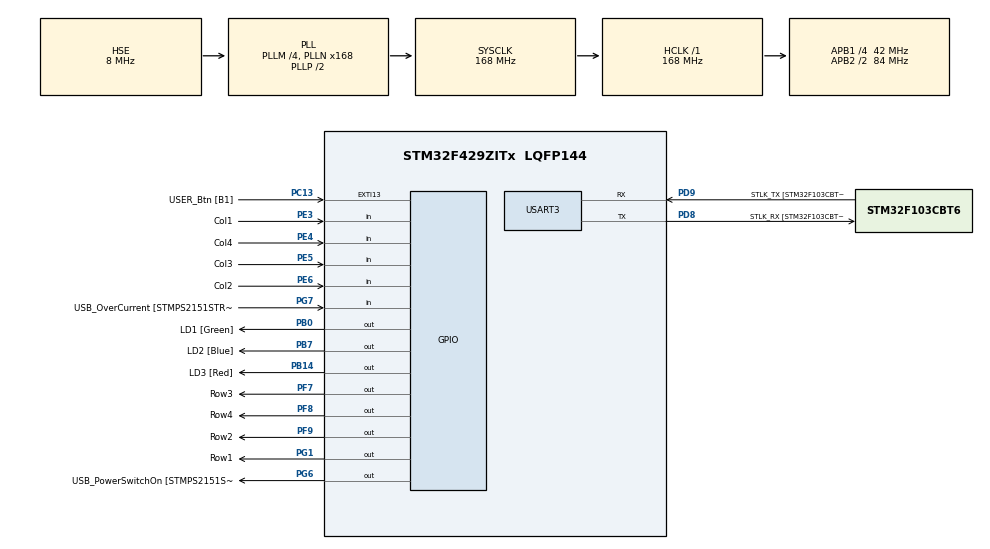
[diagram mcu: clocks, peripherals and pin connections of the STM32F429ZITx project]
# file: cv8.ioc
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Mcu.Family=STM32F4
Mcu.Name=STM32F429ZITx
Mcu.Package=LQFP144
NVIC.PriorityGroup=NVIC_PRIORITYGROUP_4
NVIC.TIM3_IRQn=true\:0\:0\:false\:false\:true\:true\:true
PA1.GPIO_Label=RMII_REF_CLK [LAN8742A-CZ-TR_REFCLK0]
PA1.Signal=ETH_REF_CLK
PA10.GPIO_Label=USB_ID
PA10.Signal=USB_OTG_FS_ID
PA11.GPIO_Label=USB_DM
PA11.Signal=USB_OTG_FS_DM
PA12.GPIO_Label=USB_DP
PA12.Signal=USB_OTG_FS_DP
PA13.GPIO_Label=TMS
PA13.Mode=Serial_Wire
PA13.Signal=SYS_JTMS-SWDIO
PA14.GPIO_Label=TCK
PA14.Mode=Serial_Wire
PA14.Signal=SYS_JTCK-SWCLK
PA2.GPIO_Label=RMII_MDIO [LAN8742A-CZ-TR_MDIO]
PA2.Signal=ETH_MDIO
PA7.GPIO_Label=RMII_CRS_DV [LAN8742A-CZ-TR_CRS_DV]
PA7.Signal=ETH_CRS_DV
PA8.GPIO_Label=USB_SOF [TP1]
PA8.Signal=USB_OTG_FS_SOF
PA9.GPIO_Label=USB_VBUS
PA9.Signal=USB_OTG_FS_VBUS
PB0.GPIO_Label=LD1 [Green]
PB0.Signal=GPIO_Output
PB13.GPIO_Label=RMII_TXD1 [LAN8742A-CZ-TR_TXD1]
PB13.Signal=ETH_TXD1
PB14.GPIO_Label=LD3 [Red]
PB14.Signal=GPIO_Output
PB7.GPIO_Label=LD2 [Blue]
PB7.Signal=GPIO_Output
PC1.GPIO_Label=RMII_MDC [LAN8742A-CZ-TR_MDC]
PC1.Signal=ETH_MDC
PC13.GPIO_Label=USER_Btn [B1]
PC13.Signal=GPXTI13
PC14/OSC32_IN.Mode=LSE-External-Oscillator
PC14/OSC32_IN.Signal=RCC_OSC32_IN
PC15/OSC32_OUT.Mode=LSE-External-Oscillator
PC15/OSC32_OUT.Signal=RCC_OSC32_OUT
PC4.GPIO_Label=RMII_RXD0 [LAN8742A-CZ-TR_RXD0]
PC4.Signal=ETH_RXD0
PC5.GPIO_Label=RMII_RXD1 [LAN8742A-CZ-TR_RXD1]
PC5.Signal=ETH_RXD1
PD8.GPIO_Label=STLK_RX [STM32F103CBT6_PA3]
PD8.Mode=Asynchronous
PD8.Signal=USART3_TX
PD9.GPIO_Label=STLK_TX [STM32F103CBT6_PA2]
PD9.Mode=Asynchronous
PD9.Signal=USART3_RX
PE3.GPIO_Label=Col1
PE3.GPIO_PuPd=GPIO_PULLUP
PE3.Signal=GPIO_Input
PE4.GPIO_Label=Col4
PE4.GPIO_PuPd=GPIO_PULLUP
PE4.Signal=GPIO_Input
PE5.GPIO_Label=Col3
PE5.GPIO_PuPd=GPIO_PULLUP
PE5.Signal=GPIO_Input
PE6.GPIO_Label=Col2
PE6.GPIO_PuPd=GPIO_PULLUP
PE6.Signal=GPIO_Input
PF7.GPIO_Label=Row3
PF7.GPIO_ModeDefaultOutputPP=GPIO_MODE_OUTPUT_OD
PF7.Signal=GPIO_Output
PF8.GPIO_Label=Row4
PF8.GPIO_ModeDefaultOutputPP=GPIO_MODE_OUTPUT_OD
PF8.Signal=GPIO_Output
PF9.GPIO_Label=Row2
PF9.GPIO_ModeDefaultOutputPP=GPIO_MODE_OUTPUT_OD
PF9.Signal=GPIO_Output
PG1.GPIO_Label=Row1
PG1.GPIO_ModeDefaultOutputPP=GPIO_MODE_OUTPUT_OD
PG1.Signal=GPIO_Output
PG11.GPIO_Label=RMII_TX_EN [LAN8742A-CZ-TR_TXEN]
PG11.Signal=ETH_TX_EN
PG13.GPIO_Label=RMII_TXD0 [LAN8742A-CZ-TR_TXD0]
PG13.Signal=ETH_TXD0
PG6.GPIO_Label=USB_PowerSwitchOn [STMPS2151STR_EN]
PG6.Signal=GPIO_Output
PG7.GPIO_Label=USB_OverCurrent [STMPS2151STR_FAULT]
PG7.Signal=GPIO_Input
PH0/OSC_IN.GPIO_Label=MCO [STM32F103CBT6_PA8]
PH0/OSC_IN.Mode=HSE-External-Clock-Source
PH0/OSC_IN.Signal=RCC_OSC_IN
PH1/OSC_OUT.Mode=HSE-External-Clock-Source
PH1/OSC_OUT.Signal=RCC_OSC_OUT
ProjectManager.HeapSize=0x200
ProjectManager.StackSize=0x400
ProjectManager.TargetToolchain=STM32CubeIDE
RCC.48MHZClocksFreq_Value=48000000
RCC.AHBFreq_Value=168000000
RCC.APB1CLKDivider=RCC_HCLK_DIV4
RCC.APB1Freq_Value=42000000
RCC.APB1TimFreq_Value=84000000
RCC.APB2CLKDivider=RCC_HCLK_DIV2
RCC.APB2Freq_Value=84000000
RCC.APB2TimCLKDivider=2
RCC.APB2TimFreq_Value=168000000
RCC.CortexFreq_Value=168000000
RCC.HCLKFreq_Value=168000000
RCC.HSE_VALUE=8000000
RCC.HSI_VALUE=16000000
RCC.PLLM=4
RCC.PLLMUL=RCC_PLL_MUL9
RCC.PLLN=168
RCC.PLLQ=7
RCC.PLLSourceVirtual=RCC_PLLSOURCE_HSE
RCC.PRESCALERUSB=RCC_USBCLKSOURCE_PLL_DIV1_5
RCC.SYSCLKFreq_VALUE=168000000
RCC.SYSCLKSource=RCC_SYSCLKSOURCE_PLLCLK
RCC.SYSCLKSourceVirtual=RCC_SYSCLKSOURCE_PLLCLK
RCC.USBFreq_Value=48000000
RCC.VCOOutputFreq_Value=336000000
TIM3.AutoReloadPreload=TIM_AUTORELOAD_PRELOAD_ENABLE
TIM3.Period=99
TIM3.Prescaler=8399
USART3.VirtualMode=VM_ASYNC
VP_TIM3_VS_ClockSourceINT.Mode=Internal
board=NUCLEO-F429ZI

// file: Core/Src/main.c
/* USER CODE BEGIN Header */
/**
  ******************************************************************************
  * @file           : main.c
  * @brief          : Main program body
  ******************************************************************************
  * @attention
  *
  * <h2><center>&copy; Copyright (c) 2021 STMicroelectronics.
  * All rights reserved.</center></h2>
  *
  * This software component is licensed by ST under BSD 3-Clause license,
  * the "License"; You may not use this file except in compliance with the
  * License. You may obtain a copy of the License at:
  *                        opensource.org/licenses/BSD-3-Clause
  *
  ******************************************************************************
  */
/* USER CODE END Header */
#include "main.h"

/* USER CODE BEGIN Includes */
#include "stdio.h"

/* USER CODE END Includes */

/* USER CODE BEGIN PD */

int __io_putchar(int ch)
{
	ITM_SendChar(ch);
	return 0;
}

/* USER CODE END PD */

TIM_HandleTypeDef htim3;

UART_HandleTypeDef huart3;

/* USER CODE BEGIN PV */

static volatile int8_t key=-1;
static volatile int8_t score=0;
static int16_t pass [] ={7,9,3,2,12};

/* USER CODE END PV */

void SystemClock_Config(void);
static void MX_GPIO_Init(void);
static void MX_USART3_UART_Init(void);
static void MX_TIM3_Init(void);
/* USER CODE BEGIN PFP */

void test(int key){
	static uint32_t new_time;
	uint32_t time;
	static int8_t score=0;
	time=HAL_GetTick();

	if(time>new_time){
		new_time=time+3000;
		score=0;
	}

	if (key == pass[score]){
		score++;
		new_time=time+3000;
	}
	else{
		score=0;
	}
	printf("%d\n",score);

	if(score==5){
		HAL_GPIO_TogglePin(LD1_GPIO_Port, LD1_Pin);
		score=0;
	}
}

/* USER CODE END PFP */

int main(void)
{

  /* MCU Configuration--------------------------------------------------------*/

  /* Reset of all peripherals, Initializes the Flash interface and the Systick. */

	HAL_Init();

  /* Configure the system clock */
  SystemClock_Config();

  /* Initialize all configured peripherals */
  MX_GPIO_Init();
  MX_USART3_UART_Init();
  MX_TIM3_Init();
  /* USER CODE BEGIN 2 */
  HAL_TIM_Base_Start_IT(&htim3);

  /* USER CODE END 2 */

  /* Infinite loop */
  /* USER CODE BEGIN WHILE */
  while (1)
  {
	  if (key!=-1){
		  printf("%d\n",key);
		  test(key);
		  HAL_Delay(400);
		  key=-1;
	  }

	  /* USER CODE END WHILE */

  }
}

void SystemClock_Config(void)
{
  RCC_OscInitTypeDef RCC_OscInitStruct = {0};
  RCC_ClkInitTypeDef RCC_ClkInitStruct = {0};

  /** Configure the main internal regulator output voltage
  */
  __HAL_RCC_PWR_CLK_ENABLE();
  __HAL_PWR_VOLTAGESCALING_CONFIG(PWR_REGULATOR_VOLTAGE_SCALE1);
  /** Initializes the RCC Oscillators according to the specified parameters
  * in the RCC_OscInitTypeDef structure.
  */
  RCC_OscInitStruct.OscillatorType = RCC_OSCILLATORTYPE_HSE;
  RCC_OscInitStruct.HSEState = RCC_HSE_BYPASS;
  RCC_OscInitStruct.PLL.PLLState = RCC_PLL_ON;
  RCC_OscInitStruct.PLL.PLLSource = RCC_PLLSOURCE_HSE;
  RCC_OscInitStruct.PLL.PLLM = 4;
  RCC_OscInitStruct.PLL.PLLN = 168;
  RCC_OscInitStruct.PLL.PLLP = RCC_PLLP_DIV2;
  RCC_OscInitStruct.PLL.PLLQ = 7;
  if (HAL_RCC_OscConfig(&RCC_OscInitStruct) != HAL_OK)
  {
    Error_Handler();
  }
  /** Initializes the CPU, AHB and APB buses clocks
  */
  RCC_ClkInitStruct.ClockType = RCC_CLOCKTYPE_HCLK|RCC_CLOCKTYPE_SYSCLK
                              |RCC_CLOCKTYPE_PCLK1|RCC_CLOCKTYPE_PCLK2;
  RCC_ClkInitStruct.SYSCLKSource = RCC_SYSCLKSOURCE_PLLCLK;
  RCC_ClkInitStruct.AHBCLKDivider = RCC_SYSCLK_DIV1;
  RCC_ClkInitStruct.APB1CLKDivider = RCC_HCLK_DIV4;
  RCC_ClkInitStruct.APB2CLKDivider = RCC_HCLK_DIV2;

  if (HAL_RCC_ClockConfig(&RCC_ClkInitStruct, FLASH_LATENCY_5) != HAL_OK)
  {
    Error_Handler();
  }
}

static void MX_TIM3_Init(void)
{

  TIM_ClockConfigTypeDef sClockSourceConfig = {0};
  TIM_MasterConfigTypeDef sMasterConfig = {0};

  htim3.Instance = TIM3;
  htim3.Init.Prescaler = 8399;
  htim3.Init.CounterMode = TIM_COUNTERMODE_UP;
  htim3.Init.Period = 99;
  htim3.Init.ClockDivision = TIM_CLOCKDIVISION_DIV1;
  htim3.Init.AutoReloadPreload = TIM_AUTORELOAD_PRELOAD_ENABLE;
  if (HAL_TIM_Base_Init(&htim3) != HAL_OK)
  {
    Error_Handler();
  }
  sClockSourceConfig.ClockSource = TIM_CLOCKSOURCE_INTERNAL;
  if (HAL_TIM_ConfigClockSource(&htim3, &sClockSourceConfig) != HAL_OK)
  {
    Error_Handler();
  }
  sMasterConfig.MasterOutputTrigger = TIM_TRGO_RESET;
  sMasterConfig.MasterSlaveMode = TIM_MASTERSLAVEMODE_DISABLE;
  if (HAL_TIMEx_MasterConfigSynchronization(&htim3, &sMasterConfig) != HAL_OK)
  {
    Error_Handler();
  }

}

static void MX_USART3_UART_Init(void)
{

  huart3.Instance = USART3;
  huart3.Init.BaudRate = 115200;
  huart3.Init.WordLength = UART_WORDLENGTH_8B;
  huart3.Init.StopBits = UART_STOPBITS_1;
  huart3.Init.Parity = UART_PARITY_NONE;
  huart3.Init.Mode = UART_MODE_TX_RX;
  huart3.Init.HwFlowCtl = UART_HWCONTROL_NONE;
  huart3.Init.OverSampling = UART_OVERSAMPLING_16;
  if (HAL_UART_Init(&huart3) != HAL_OK)
  {
    Error_Handler();
  }

}

static void MX_GPIO_Init(void)
{
  GPIO_InitTypeDef GPIO_InitStruct = {0};

  /* GPIO Ports Clock Enable */
  __HAL_RCC_GPIOE_CLK_ENABLE();
  __HAL_RCC_GPIOC_CLK_ENABLE();
  __HAL_RCC_GPIOF_CLK_ENABLE();
  __HAL_RCC_GPIOH_CLK_ENABLE();
  __HAL_RCC_GPIOA_CLK_ENABLE();
  __HAL_RCC_GPIOB_CLK_ENABLE();
  __HAL_RCC_GPIOG_CLK_ENABLE();
  __HAL_RCC_GPIOD_CLK_ENABLE();

  /*Configure GPIO pin Output Level */
  HAL_GPIO_WritePin(GPIOF, Row3_Pin|Row4_Pin|Row2_Pin, GPIO_PIN_RESET);

  /*Configure GPIO pin Output Level */
  HAL_GPIO_WritePin(GPIOB, LD1_Pin|LD3_Pin|LD2_Pin, GPIO_PIN_RESET);

  /*Configure GPIO pin Output Level */
  HAL_GPIO_WritePin(GPIOG, Row1_Pin|USB_PowerSwitchOn_Pin, GPIO_PIN_RESET);

  /*Configure GPIO pins : Col1_Pin Col4_Pin Col3_Pin Col2_Pin */
  GPIO_InitStruct.Pin = Col1_Pin|Col4_Pin|Col3_Pin|Col2_Pin;
  GPIO_InitStruct.Mode = GPIO_MODE_INPUT;
  GPIO_InitStruct.Pull = GPIO_PULLUP;
  HAL_GPIO_Init(GPIOE, &GPIO_InitStruct);

  /*Configure GPIO pin : USER_Btn_Pin */
  GPIO_InitStruct.Pin = USER_Btn_Pin;
  GPIO_InitStruct.Mode = GPIO_MODE_IT_RISING;
  GPIO_InitStruct.Pull = GPIO_NOPULL;
  HAL_GPIO_Init(USER_Btn_GPIO_Port, &GPIO_InitStruct);

  /*Configure GPIO pins : Row3_Pin Row4_Pin Row2_Pin */
  GPIO_InitStruct.Pin = Row3_Pin|Row4_Pin|Row2_Pin;
  GPIO_InitStruct.Mode = GPIO_MODE_OUTPUT_OD;
  GPIO_InitStruct.Pull = GPIO_NOPULL;
  GPIO_InitStruct.Speed = GPIO_SPEED_FREQ_LOW;
  HAL_GPIO_Init(GPIOF, &GPIO_InitStruct);

  /*Configure GPIO pins : RMII_MDC_Pin RMII_RXD0_Pin RMII_RXD1_Pin */
  GPIO_InitStruct.Pin = RMII_MDC_Pin|RMII_RXD0_Pin|RMII_RXD1_Pin;
  GPIO_InitStruct.Mode = GPIO_MODE_AF_PP;
  GPIO_InitStruct.Pull = GPIO_NOPULL;
  GPIO_InitStruct.Speed = GPIO_SPEED_FREQ_VERY_HIGH;
  GPIO_InitStruct.Alternate = GPIO_AF11_ETH;
  HAL_GPIO_Init(GPIOC, &GPIO_InitStruct);

  /*Configure GPIO pins : RMII_REF_CLK_Pin RMII_MDIO_Pin RMII_CRS_DV_Pin */
  GPIO_InitStruct.Pin = RMII_REF_CLK_Pin|RMII_MDIO_Pin|RMII_CRS_DV_Pin;
  GPIO_InitStruct.Mode = GPIO_MODE_AF_PP;
  GPIO_InitStruct.Pull = GPIO_NOPULL;
  GPIO_InitStruct.Speed = GPIO_SPEED_FREQ_VERY_HIGH;
  GPIO_InitStruct.Alternate = GPIO_AF11_ETH;
  HAL_GPIO_Init(GPIOA, &GPIO_InitStruct);

  /*Configure GPIO pins : LD1_Pin LD3_Pin LD2_Pin */
  GPIO_InitStruct.Pin = LD1_Pin|LD3_Pin|LD2_Pin;
  GPIO_InitStruct.Mode = GPIO_MODE_OUTPUT_PP;
  GPIO_InitStruct.Pull = GPIO_NOPULL;
  GPIO_InitStruct.Speed = GPIO_SPEED_FREQ_LOW;
  HAL_GPIO_Init(GPIOB, &GPIO_InitStruct);

  /*Configure GPIO pin : Row1_Pin */
  GPIO_InitStruct.Pin = Row1_Pin;
  GPIO_InitStruct.Mode = GPIO_MODE_OUTPUT_OD;
  GPIO_InitStruct.Pull = GPIO_NOPULL;
  GPIO_InitStruct.Speed = GPIO_SPEED_FREQ_LOW;
  HAL_GPIO_Init(Row1_GPIO_Port, &GPIO_InitStruct);

  /*Configure GPIO pin : RMII_TXD1_Pin */
  GPIO_InitStruct.Pin = RMII_TXD1_Pin;
  GPIO_InitStruct.Mode = GPIO_MODE_AF_PP;
  GPIO_InitStruct.Pull = GPIO_NOPULL;
  GPIO_InitStruct.Speed = GPIO_SPEED_FREQ_VERY_HIGH;
  GPIO_InitStruct.Alternate = GPIO_AF11_ETH;
  HAL_GPIO_Init(RMII_TXD1_GPIO_Port, &GPIO_InitStruct);

  /*Configure GPIO pin : USB_PowerSwitchOn_Pin */
  GPIO_InitStruct.Pin = USB_PowerSwitchOn_Pin;
  GPIO_InitStruct.Mode = GPIO_MODE_OUTPUT_PP;
  GPIO_InitStruct.Pull = GPIO_NOPULL;
  GPIO_InitStruct.Speed = GPIO_SPEED_FREQ_LOW;
  HAL_GPIO_Init(USB_PowerSwitchOn_GPIO_Port, &GPIO_InitStruct);

  /*Configure GPIO pin : USB_OverCurrent_Pin */
  GPIO_InitStruct.Pin = USB_OverCurrent_Pin;
  GPIO_InitStruct.Mode = GPIO_MODE_INPUT;
  GPIO_InitStruct.Pull = GPIO_NOPULL;
  HAL_GPIO_Init(USB_OverCurrent_GPIO_Port, &GPIO_InitStruct);

  /*Configure GPIO pins : USB_SOF_Pin USB_ID_Pin USB_DM_Pin USB_DP_Pin */
  GPIO_InitStruct.Pin = USB_SOF_Pin|USB_ID_Pin|USB_DM_Pin|USB_DP_Pin;
  GPIO_InitStruct.Mode = GPIO_MODE_AF_PP;
  GPIO_InitStruct.Pull = GPIO_NOPULL;
  GPIO_InitStruct.Speed = GPIO_SPEED_FREQ_VERY_HIGH;
  GPIO_InitStruct.Alternate = GPIO_AF10_OTG_FS;
  HAL_GPIO_Init(GPIOA, &GPIO_InitStruct);

  /*Configure GPIO pin : USB_VBUS_Pin */
  GPIO_InitStruct.Pin = USB_VBUS_Pin;
  GPIO_InitStruct.Mode = GPIO_MODE_INPUT;
  GPIO_InitStruct.Pull = GPIO_NOPULL;
  HAL_GPIO_Init(USB_VBUS_GPIO_Port, &GPIO_InitStruct);

  /*Configure GPIO pins : RMII_TX_EN_Pin RMII_TXD0_Pin */
  GPIO_InitStruct.Pin = RMII_TX_EN_Pin|RMII_TXD0_Pin;
  GPIO_InitStruct.Mode = GPIO_MODE_AF_PP;
  GPIO_InitStruct.Pull = GPIO_NOPULL;
  GPIO_InitStruct.Speed = GPIO_SPEED_FREQ_VERY_HIGH;
  GPIO_InitStruct.Alternate = GPIO_AF11_ETH;
  HAL_GPIO_Init(GPIOG, &GPIO_InitStruct);

}

/* USER CODE BEGIN 4 */

void HAL_TIM_PeriodElapsedCallback(TIM_HandleTypeDef *htim)
{
	static int row = 0;
	static const int keyboard[4][4] = {
			{ 1, 2, 3, 21 },
			{ 4, 5, 6, 22 },
			{ 7, 8, 9, 23 },
			{ 11, 0, 12, 24 },
	};
	if (key == -1) {
		if (HAL_GPIO_ReadPin(Col1_GPIO_Port, Col1_Pin) == GPIO_PIN_RESET) key = keyboard[row][0];
		if (HAL_GPIO_ReadPin(Col2_GPIO_Port, Col2_Pin) == GPIO_PIN_RESET) key = keyboard[row][1];
		if (HAL_GPIO_ReadPin(Col3_GPIO_Port, Col3_Pin) == GPIO_PIN_RESET) key = keyboard[row][2];
		if (HAL_GPIO_ReadPin(Col4_GPIO_Port, Col4_Pin) == GPIO_PIN_RESET) key = keyboard[row][3];
		// completed
	}
	HAL_GPIO_WritePin(Row1_GPIO_Port, Row1_Pin, GPIO_PIN_SET);
	HAL_GPIO_WritePin(Row2_GPIO_Port, Row2_Pin, GPIO_PIN_SET);
	HAL_GPIO_WritePin(Row3_GPIO_Port, Row3_Pin, GPIO_PIN_SET);
	HAL_GPIO_WritePin(Row4_GPIO_Port, Row4_Pin, GPIO_PIN_SET);
	switch (row) {
	case 0: row = 1; HAL_GPIO_WritePin(Row2_GPIO_Port, Row2_Pin, GPIO_PIN_RESET); break;
	case 1: row = 2; HAL_GPIO_WritePin(Row3_GPIO_Port, Row3_Pin, GPIO_PIN_RESET); break;
	case 2: row = 3; HAL_GPIO_WritePin(Row4_GPIO_Port, Row4_Pin, GPIO_PIN_RESET); break;
	case 3: row = 0; HAL_GPIO_WritePin(Row1_GPIO_Port, Row1_Pin, GPIO_PIN_RESET); break;
	}
}

/* USER CODE END 4 */

void Error_Handler(void)
{
  __disable_irq();
  while (1)
  {
  }
}

/************************ (C) COPYRIGHT STMicroelectronics *****END OF FILE****/
